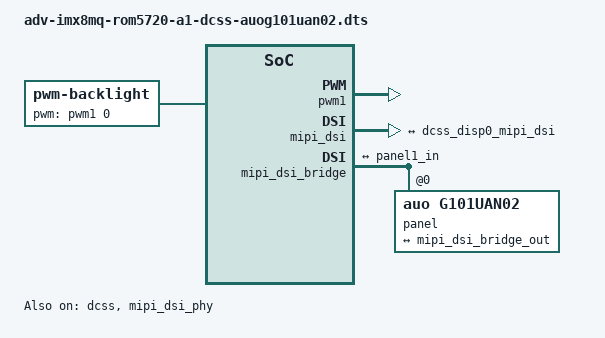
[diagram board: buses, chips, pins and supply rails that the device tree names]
/*
 * Copyright 2018 NXP
 *
 * This program is free software; you can redistribute it and/or
 * modify it under the terms of the GNU General Public License
 * as published by the Free Software Foundation; either version 2
 * of the License, or (at your option) any later version.
 *
 * This program is distributed in the hope that it will be useful,
 * but WITHOUT ANY WARRANTY; without even the implied warranty of
 * MERCHANTABILITY or FITNESS FOR A PARTICULAR PURPOSE.  See the
 * GNU General Public License for more details.
 */

#include "adv-imx8mq-rom5720-a1.dts"

/ {
	sound-hdmi {
		status = "disabled";
	};
	backlight: backlight {
		compatible = "pwm-backlight";
		pwms = <&pwm1 0 1000000 0>;
		brightness-levels = < 0  1  2  3  4  5  6  7  8  9
			     10 11 12 13 14 15 16 17 18 19
			     20 21 22 23 24 25 26 27 28 29
			     30 31 32 33 34 35 36 37 38 39
			     40 41 42 43 44 45 46 47 48 49
			     50 51 52 53 54 55 56 57 58 59
			     60 61 62 63 64 65 66 67 68 69
			     70 71 72 73 74 75 76 77 78 79
			     80 81 82 83 84 85 86 87 88 89
			     90 91 92 93 94 95 96 97 98 99
			    100>;
		default-brightness-level = <80>;
	};
};

&hdmi {
	status = "disabled";
};

&iomuxc {
	pinctrl-names = "default";
	pinctrl-0 = <&pinctrl_hog>;
	imx8mq-evk {
		pinctrl_mipi_dsi_en: mipi_dsi_en {
			fsl,pins = <
				MX8MQ_IOMUXC_ECSPI1_SCLK_GPIO5_IO6	0x16
			>;
		};
		pinctrl_pwm1: pwm1grp {
			fsl,pins = <
				MX8MQ_IOMUXC_GPIO1_IO01_PWM1_OUT         0x06
			>;
		};
	};
};

&pwm1 {
 	status = "okay";
        pinctrl-names = "default";
        pinctrl-0 = <&pinctrl_pwm1>;

};

&dcss {
 	status = "okay";
	disp-dev = "mipi_disp";
	clocks = <&clk IMX8MQ_CLK_DISP_APB_ROOT>,
		 <&clk IMX8MQ_CLK_DISP_AXI_ROOT>,
		 <&clk IMX8MQ_CLK_DISP_RTRM_ROOT>,
		 <&clk IMX8MQ_CLK_DC_PIXEL>,
		 <&clk IMX8MQ_CLK_DISP_DTRC>,
		 <&clk IMX8MQ_VIDEO_PLL1>,
		 <&clk IMX8MQ_CLK_27M>,
		 <&clk IMX8MQ_CLK_25M>;
	clock-names = "apb", "axi", "rtrm", "pix", "dtrc",
		      "pll", "pll_src1", "pll_src2";
	assigned-clocks = <&clk IMX8MQ_CLK_DC_PIXEL>,
			  <&clk IMX8MQ_CLK_DISP_AXI>,
			  <&clk IMX8MQ_CLK_DISP_RTRM>;
	assigned-clock-parents = <&clk IMX8MQ_VIDEO_PLL1_OUT>,
				 <&clk IMX8MQ_SYS1_PLL_800M>,
				 <&clk IMX8MQ_SYS1_PLL_800M>;
	assigned-clock-rates = <594000000>,
			       <800000000>,
			       <400000000>;
	dcss_disp0: port@0 {
		reg = <0>;
		dcss_disp0_mipi_dsi: mipi_dsi {
			remote-endpoint = <&mipi_dsi_in>;
		};
	};
};

&mipi_dsi_phy {
	status = "okay";
};

&mipi_dsi {
	status = "okay";
	port@1 {
		mipi_dsi_in: endpoint {
			remote-endpoint = <&dcss_disp0_mipi_dsi>;
		};
	};
};

&mipi_dsi_bridge {
	status = "okay";
	panel@0 {
		compatible = "auo,g101uan02";
		reg = <0>;
		pinctrl-0 = <&pinctrl_mipi_dsi_en>;
		port {
			panel1_in: endpoint {
				remote-endpoint = <&mipi_dsi_bridge_out>;
			};
		};
	};
	port@2 {
		mipi_dsi_bridge_out: endpoint {
			remote-endpoint = <&panel1_in>;
		};
	};
};
